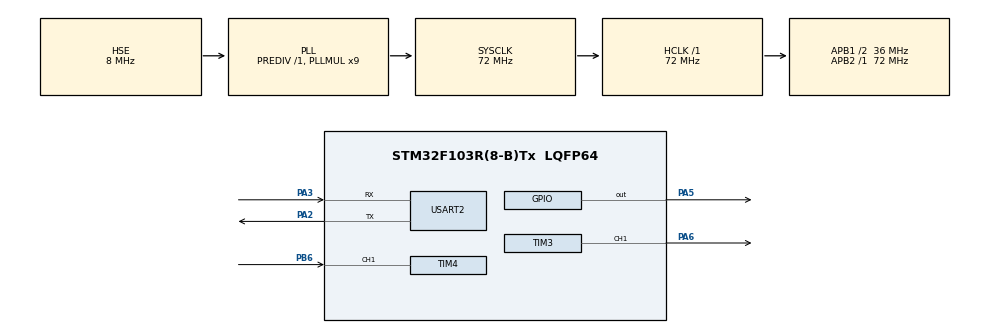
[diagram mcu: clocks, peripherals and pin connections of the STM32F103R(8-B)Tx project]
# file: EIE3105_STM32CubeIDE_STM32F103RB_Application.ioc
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Mcu.Family=STM32F1
Mcu.Name=STM32F103R(8-B)Tx
Mcu.Package=LQFP64
NVIC.PriorityGroup=NVIC_PRIORITYGROUP_4
NVIC.TIM4_IRQn=true\:0\:0\:false\:false\:true\:true\:true\:true
PA13.Mode=Serial_Wire
PA13.Signal=SYS_JTMS-SWDIO
PA14.Mode=Serial_Wire
PA14.Signal=SYS_JTCK-SWCLK
PA2.Mode=Asynchronous
PA2.Signal=USART2_TX
PA3.Mode=Asynchronous
PA3.Signal=USART2_RX
PA5.Signal=GPIO_Output
PA6.Signal=S_TIM3_CH1
PB6.Signal=S_TIM4_CH1
PD0-OSC_IN.Mode=HSE-External-Oscillator
PD0-OSC_IN.Signal=RCC_OSC_IN
PD1-OSC_OUT.Mode=HSE-External-Oscillator
PD1-OSC_OUT.Signal=RCC_OSC_OUT
ProjectManager.HeapSize=0x200
ProjectManager.StackSize=0x400
ProjectManager.TargetToolchain=STM32CubeIDE
RCC.AHBFreq_Value=72000000
RCC.APB1CLKDivider=RCC_HCLK_DIV2
RCC.APB1Freq_Value=36000000
RCC.APB1TimFreq_Value=72000000
RCC.APB2Freq_Value=72000000
RCC.APB2TimFreq_Value=72000000
RCC.HCLKFreq_Value=72000000
RCC.PLLMUL=RCC_PLL_MUL9
RCC.PLLSourceVirtual=RCC_PLLSOURCE_HSE
RCC.SYSCLKFreq_VALUE=72000000
RCC.SYSCLKSource=RCC_SYSCLKSOURCE_PLLCLK
RCC.USBFreq_Value=72000000
SH.S_TIM3_CH1.0=TIM3_CH1,PWM Generation1 CH1
SH.S_TIM4_CH1.0=TIM4_CH1,Input_Capture1_from_TI1
TIM3.Channel-PWM\ Generation1\ CH1=TIM_CHANNEL_1
TIM3.Period=500-1
TIM3.Prescaler=7200-1
TIM3.Pulse-PWM\ Generation1\ CH1=124-1
TIM4.Channel-Input_Capture1_from_TI1=TIM_CHANNEL_1
TIM4.Prescaler=7200-1
USART2.VirtualMode=VM_ASYNC
VP_TIM3_VS_ClockSourceINT.Mode=Internal
VP_TIM4_VS_ClockSourceINT.Mode=Internal
board=custom

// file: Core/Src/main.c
/* USER CODE BEGIN Header */
/**
  ******************************************************************************
  * @file           : main.c
  * @brief          : Main program body
  ******************************************************************************
  * @attention
  *
  * Copyright (c) 2025 STMicroelectronics.
  * All rights reserved.
  *
  * This software is licensed under terms that can be found in the LICENSE file
  * in the root directory of this software component.
  * If no LICENSE file comes with this software, it is provided AS-IS.
  *
  ******************************************************************************
  */
/* USER CODE END Header */
#include "main.h"

TIM_HandleTypeDef htim3;
TIM_HandleTypeDef htim4;

UART_HandleTypeDef huart2;

/* USER CODE BEGIN PV */
volatile uint32_t ic_value1 = 0; // Capture value at the first edge
volatile uint32_t ic_value2 = 0; // Capture value at the second edge
volatile uint32_t pulse_width = 0; // High time in timer ticks
volatile uint8_t is_rising_edge = 1; // Flag to track edge detection

/* USER CODE END PV */

void SystemClock_Config(void);
static void MX_GPIO_Init(void);
static void MX_TIM3_Init(void);
static void MX_TIM4_Init(void);
static void MX_USART2_UART_Init(void);

/* USER CODE BEGIN 0 */

void delay(volatile int t) {
 for(volatile int i = 0; i < t; i++) {
	 ;// HAL_GPIO_WritePin(GPIOA, GPIO_PIN_0, GPIO_PIN_SET);
 }
}

/* USER CODE BEGIN 0 */
void HAL_TIM_IC_CaptureCallback(TIM_HandleTypeDef *htim)
{
	if (htim->Instance == TIM4 && htim->Channel == HAL_TIM_ACTIVE_CHANNEL_1)
	{
		if (is_rising_edge)
		{
			// Capture rising edge
			ic_value1 = HAL_TIM_ReadCapturedValue(htim, TIM_CHANNEL_1);
			// Switch to detect falling edge
			__HAL_TIM_SET_CAPTUREPOLARITY(htim, TIM_CHANNEL_1,
					TIM_INPUTCHANNELPOLARITY_FALLING);
			is_rising_edge = 0;
		}
		else
		{
			// Capture falling edge
			ic_value2 = HAL_TIM_ReadCapturedValue(htim, TIM_CHANNEL_1);
			if (ic_value2 > ic_value1) // Calculate pulse width
			{
				pulse_width = ic_value2 - ic_value1;
			}
			else
			{ // Handle overflow
				pulse_width = (0xFFFF - ic_value1) + ic_value2 + 1;
			}
			// Switch back to detect the rising edge
			__HAL_TIM_SET_CAPTUREPOLARITY(htim, TIM_CHANNEL_1, TIM_INPUTCHANNELPOLARITY_RISING);
			is_rising_edge = 1;
		}
	}
}

/* USER CODE END 0 */

int main(void)
{

  /* MCU Configuration--------------------------------------------------------*/

  /* Reset of all peripherals, Initializes the Flash interface and the Systick. */
  HAL_Init();

  /* Configure the system clock */
  SystemClock_Config();

  /* Initialize all configured peripherals */
  MX_GPIO_Init();
  MX_TIM3_Init();
  MX_TIM4_Init();
  MX_USART2_UART_Init();
  /* USER CODE BEGIN 2 */
  /* Start the timer */
  HAL_TIM_Base_Start_IT(&htim4);
  /* USER CODE BEGIN 2 */
  HAL_TIM_PWM_Start(&htim3, TIM_CHANNEL_1);
  // HAL_TIM_IC_Start_IT(&htim4, TIM_CHANNEL_1);

	TIM_OC_InitTypeDef sConfigOC = {0};
	sConfigOC.OCMode = TIM_OCMODE_PWM1;
	sConfigOC.OCPolarity = TIM_OCPOLARITY_HIGH;
	sConfigOC.OCFastMode = TIM_OCFAST_DISABLE;

	uint8_t state = 0;
  // uint8_t BUFF[20] = { 0 };

  /* USER CODE END 2 */

  /* Infinite loop */
  /* USER CODE BEGIN WHILE */
  while (1)
  {
	// snprintf((char*)BUFF, sizeof(BUFF), "pulse_width %" PRIu32 "\n", pulse_width);
	// HAL_UART_Transmit(&huart2, BUFF, sizeof(BUFF), 0xFFFF);
    /* USER CODE END WHILE */

    /* USER CODE BEGIN 3 */
      /* Check if the update event flag is set */
      if (__HAL_TIM_GET_FLAG(&htim4, TIM_FLAG_UPDATE)) {
    	  /* Clear the update event flag */
    	  __HAL_TIM_CLEAR_FLAG(&htim4, TIM_FLAG_UPDATE);

    	  /* Toggle the LED */
    	  if (state == 0) {
    		  sConfigOC.Pulse = 16383-1;
    		  HAL_TIM_PWM_ConfigChannel(&htim3, &sConfigOC, TIM_CHANNEL_1);

    		  state = 1;
    	  } else {
    		  sConfigOC.Pulse = 52428;
    		  HAL_TIM_PWM_ConfigChannel(&htim3, &sConfigOC, TIM_CHANNEL_1);

    		  state = 0;
    	  }
	 }
	 /* USER CODE END WHILE */
  }
  /* USER CODE END 3 */
}

void SystemClock_Config(void)
{
  RCC_OscInitTypeDef RCC_OscInitStruct = {0};
  RCC_ClkInitTypeDef RCC_ClkInitStruct = {0};

  /** Initializes the RCC Oscillators according to the specified parameters
  * in the RCC_OscInitTypeDef structure.
  */
  RCC_OscInitStruct.OscillatorType = RCC_OSCILLATORTYPE_HSE;
  RCC_OscInitStruct.HSEState = RCC_HSE_ON;
  RCC_OscInitStruct.HSEPredivValue = RCC_HSE_PREDIV_DIV1;
  RCC_OscInitStruct.HSIState = RCC_HSI_ON;
  RCC_OscInitStruct.PLL.PLLState = RCC_PLL_ON;
  RCC_OscInitStruct.PLL.PLLSource = RCC_PLLSOURCE_HSE;
  RCC_OscInitStruct.PLL.PLLMUL = RCC_PLL_MUL9;
  if (HAL_RCC_OscConfig(&RCC_OscInitStruct) != HAL_OK)
  {
    Error_Handler();
  }

  /** Initializes the CPU, AHB and APB buses clocks
  */
  RCC_ClkInitStruct.ClockType = RCC_CLOCKTYPE_HCLK|RCC_CLOCKTYPE_SYSCLK
                              |RCC_CLOCKTYPE_PCLK1|RCC_CLOCKTYPE_PCLK2;
  RCC_ClkInitStruct.SYSCLKSource = RCC_SYSCLKSOURCE_PLLCLK;
  RCC_ClkInitStruct.AHBCLKDivider = RCC_SYSCLK_DIV1;
  RCC_ClkInitStruct.APB1CLKDivider = RCC_HCLK_DIV2;
  RCC_ClkInitStruct.APB2CLKDivider = RCC_HCLK_DIV1;

  if (HAL_RCC_ClockConfig(&RCC_ClkInitStruct, FLASH_LATENCY_2) != HAL_OK)
  {
    Error_Handler();
  }
}

static void MX_TIM3_Init(void)
{

  TIM_ClockConfigTypeDef sClockSourceConfig = {0};
  TIM_MasterConfigTypeDef sMasterConfig = {0};
  TIM_OC_InitTypeDef sConfigOC = {0};

  htim3.Instance = TIM3;
  htim3.Init.Prescaler = 1;
  htim3.Init.CounterMode = TIM_COUNTERMODE_UP;
  htim3.Init.Period = 65535;
  htim3.Init.ClockDivision = TIM_CLOCKDIVISION_DIV1;
  htim3.Init.AutoReloadPreload = TIM_AUTORELOAD_PRELOAD_DISABLE;
  if (HAL_TIM_Base_Init(&htim3) != HAL_OK)
  {
    Error_Handler();
  }
  sClockSourceConfig.ClockSource = TIM_CLOCKSOURCE_INTERNAL;
  if (HAL_TIM_ConfigClockSource(&htim3, &sClockSourceConfig) != HAL_OK)
  {
    Error_Handler();
  }
  if (HAL_TIM_PWM_Init(&htim3) != HAL_OK)
  {
    Error_Handler();
  }
  sMasterConfig.MasterOutputTrigger = TIM_TRGO_RESET;
  sMasterConfig.MasterSlaveMode = TIM_MASTERSLAVEMODE_DISABLE;
  if (HAL_TIMEx_MasterConfigSynchronization(&htim3, &sMasterConfig) != HAL_OK)
  {
    Error_Handler();
  }
  sConfigOC.OCMode = TIM_OCMODE_PWM1;
  sConfigOC.Pulse = 65535;
  sConfigOC.OCPolarity = TIM_OCPOLARITY_HIGH;
  sConfigOC.OCFastMode = TIM_OCFAST_DISABLE;
  if (HAL_TIM_PWM_ConfigChannel(&htim3, &sConfigOC, TIM_CHANNEL_1) != HAL_OK)
  {
    Error_Handler();
  }
  HAL_TIM_MspPostInit(&htim3);

}

static void MX_TIM4_Init(void)
{

  TIM_ClockConfigTypeDef sClockSourceConfig = {0};
  TIM_MasterConfigTypeDef sMasterConfig = {0};

  htim4.Instance = TIM4;
  htim4.Init.Prescaler = 7200-1;
  htim4.Init.CounterMode = TIM_COUNTERMODE_UP;
  htim4.Init.Period = 9999;
  htim4.Init.ClockDivision = TIM_CLOCKDIVISION_DIV1;
  htim4.Init.AutoReloadPreload = TIM_AUTORELOAD_PRELOAD_ENABLE;
  if (HAL_TIM_Base_Init(&htim4) != HAL_OK)
  {
    Error_Handler();
  }
  sClockSourceConfig.ClockSource = TIM_CLOCKSOURCE_INTERNAL;
  if (HAL_TIM_ConfigClockSource(&htim4, &sClockSourceConfig) != HAL_OK)
  {
    Error_Handler();
  }
  sMasterConfig.MasterOutputTrigger = TIM_TRGO_RESET;
  sMasterConfig.MasterSlaveMode = TIM_MASTERSLAVEMODE_DISABLE;
  if (HAL_TIMEx_MasterConfigSynchronization(&htim4, &sMasterConfig) != HAL_OK)
  {
    Error_Handler();
  }

}

static void MX_USART2_UART_Init(void)
{

  huart2.Instance = USART2;
  huart2.Init.BaudRate = 115200;
  huart2.Init.WordLength = UART_WORDLENGTH_8B;
  huart2.Init.StopBits = UART_STOPBITS_1;
  huart2.Init.Parity = UART_PARITY_NONE;
  huart2.Init.Mode = UART_MODE_TX_RX;
  huart2.Init.HwFlowCtl = UART_HWCONTROL_NONE;
  huart2.Init.OverSampling = UART_OVERSAMPLING_16;
  if (HAL_UART_Init(&huart2) != HAL_OK)
  {
    Error_Handler();
  }

}

static void MX_GPIO_Init(void)
{
  GPIO_InitTypeDef GPIO_InitStruct = {0};

  /* GPIO Ports Clock Enable */
  __HAL_RCC_GPIOD_CLK_ENABLE();
  __HAL_RCC_GPIOA_CLK_ENABLE();

  /*Configure GPIO pin Output Level */
  HAL_GPIO_WritePin(GPIOA, GPIO_PIN_5, GPIO_PIN_RESET);

  /*Configure GPIO pin : PA5 */
  GPIO_InitStruct.Pin = GPIO_PIN_5;
  GPIO_InitStruct.Mode = GPIO_MODE_OUTPUT_PP;
  GPIO_InitStruct.Pull = GPIO_NOPULL;
  GPIO_InitStruct.Speed = GPIO_SPEED_FREQ_LOW;
  HAL_GPIO_Init(GPIOA, &GPIO_InitStruct);

}

void Error_Handler(void)
{
  __disable_irq();
  while (1)
  {
  }
}
